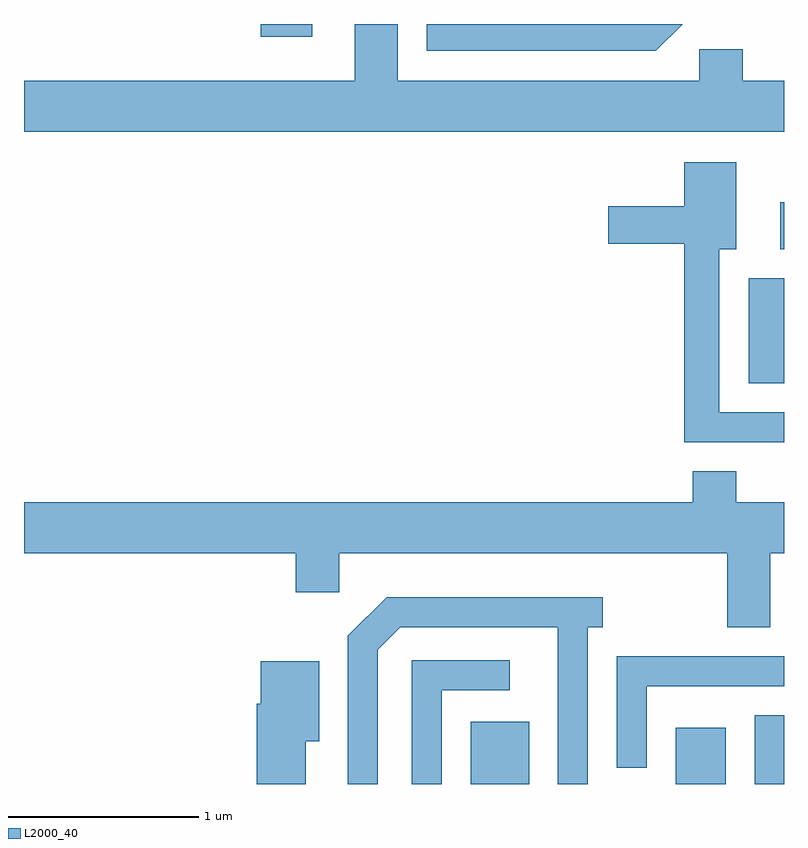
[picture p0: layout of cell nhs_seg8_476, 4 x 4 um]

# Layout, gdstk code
import gdstk
lib = gdstk.Library(unit=1e-6, precision=1e-09)
def R(c, l, rs):  # rectangles x0, y0, x1, y1
    for r in rs: c.add(gdstk.rectangle(r[:2], r[2:], *l))
def P(c, l, *ps):  # polygons
    for p in ps: c.add(gdstk.Polygon(p, *l))
L2000_40 = (2000, 40)

nhs_seg8_476 = lib.new_cell('nhs_seg8_476')
R(nhs_seg8_476, L2000_40, [(201.961,1806.342,202.269,1806.669), (203.041,1806.342,203.304,1806.639), (203.456,1806.342,203.611,1806.704), (203.426,1808.451,203.611,1809.004), (203.591,1809.156,203.611,1809.404), (200.856,1810.276,201.128,1810.342)])
P(nhs_seg8_476, L2000_40, [(203.611,1810.044),(203.394,1810.044),(203.394,1810.209),(203.166,1810.209),(203.166,1810.044),(201.579,1810.044),(201.579,1810.342),(201.351,1810.342),(201.351,1810.044),(199.611,1810.044),(199.611,1809.776),(203.611,1809.776)],
  [(203.078,1810.342),(201.731,1810.342),(201.731,1810.201),(202.937,1810.201)],
  [(203.611,1808.299),(203.269,1808.299),(203.269,1809.156),(203.359,1809.156),(203.359,1809.614),(203.086,1809.614),(203.086,1809.384),(202.686,1809.384),(202.686,1809.186),(203.086,1809.186),(203.086,1808.141),(203.611,1808.141)],
  [(203.539,1807.556),(203.611,1807.556),(203.611,1807.824),(203.359,1807.824),(203.359,1807.989),(203.131,1807.989),(203.131,1807.824),(199.611,1807.824),(199.611,1807.556),(201.041,1807.556),(201.041,1807.351),(201.269,1807.351),(201.269,1807.556),(203.311,1807.556),(203.311,1807.166),(203.539,1807.166)],
  [(201.474,1807.049),(201.592,1807.166),(202.421,1807.166),(202.421,1806.342),(202.579,1806.342),(202.579,1807.166),(202.658,1807.166),(202.658,1807.324),(201.519,1807.324),(201.316,1807.122),(201.316,1806.342),(201.474,1806.342)],
  [(202.889,1806.856),(203.611,1806.856),(203.611,1807.014),(202.731,1807.014),(202.731,1806.428),(202.889,1806.428)],
  [(201.809,1806.836),(202.168,1806.836),(202.168,1806.994),(201.651,1806.994),(201.651,1806.342),(201.809,1806.342)],
  [(201.094,1806.566),(201.164,1806.566),(201.164,1806.989),(200.856,1806.989),(200.856,1806.764),(200.836,1806.764),(200.836,1806.342),(201.094,1806.342)])

lib.write_gds('nhs_seg8_476.gds')
